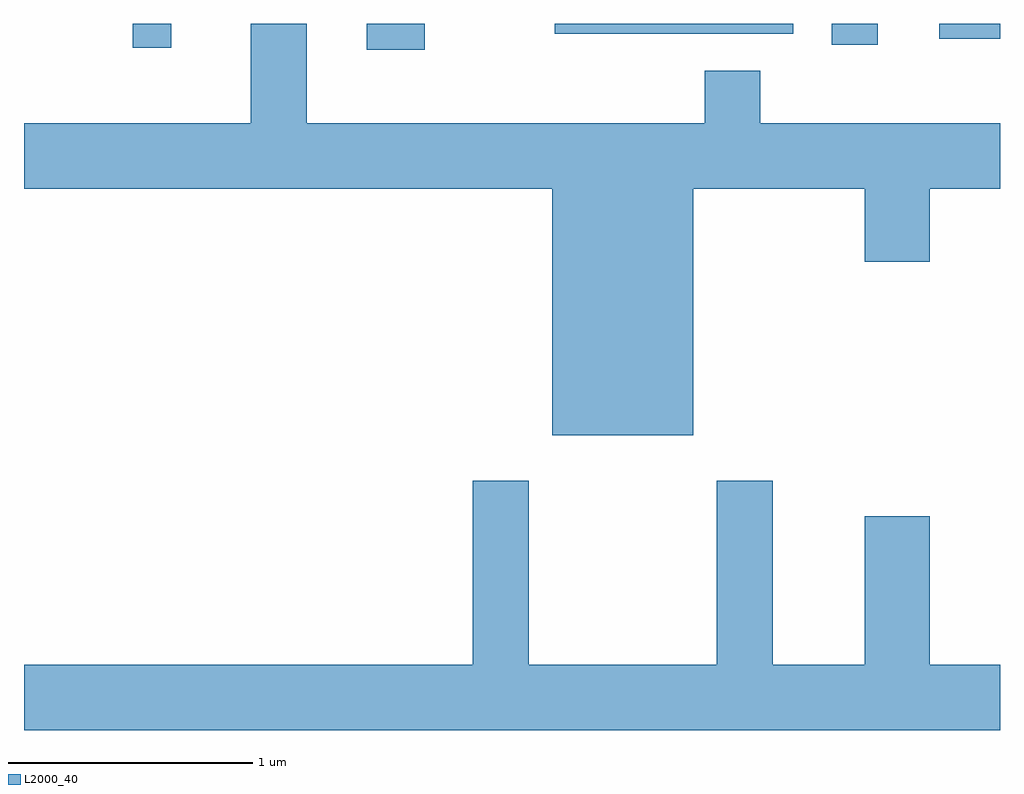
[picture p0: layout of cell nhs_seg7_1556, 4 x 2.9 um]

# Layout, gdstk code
import gdstk
lib = gdstk.Library(unit=1e-6, precision=1e-09)
def R(c, l, rs):  # rectangles x0, y0, x1, y1
    for r in rs: c.add(gdstk.rectangle(r[:2], r[2:], *l))
def P(c, l, *ps):  # polygons
    for p in ps: c.add(gdstk.Polygon(p, *l))
L2000_40 = (2000, 40)

nhs_seg7_1556 = lib.new_cell('nhs_seg7_1556')
R(nhs_seg7_1556, L2000_40, [(233.016,1788.146,233.254,1788.252), (232.056,1788.153,232.214,1788.252), (234.921,1788.166,235.109,1788.252), (235.363,1788.191,235.611,1788.252), (233.786,1788.211,234.764,1788.252)])
P(nhs_seg7_1556, L2000_40, [(234.354,1787.576),(235.056,1787.576),(235.056,1787.276),(235.324,1787.276),(235.324,1787.576),(235.611,1787.576),(235.611,1787.844),(234.629,1787.844),(234.629,1788.059),(234.401,1788.059),(234.401,1787.844),(232.769,1787.844),(232.769,1788.252),(232.541,1788.252),(232.541,1787.844),(231.611,1787.844),(231.611,1787.576),(233.776,1787.576),(233.776,1786.566),(234.354,1786.566)],
  [(235.611,1785.624),(235.324,1785.624),(235.324,1786.234),(235.056,1786.234),(235.056,1785.624),(234.679,1785.624),(234.679,1786.379),(234.451,1786.379),(234.451,1785.624),(233.679,1785.624),(233.679,1786.379),(233.451,1786.379),(233.451,1785.624),(231.611,1785.624),(231.611,1785.356),(235.611,1785.356)])

lib.write_gds('nhs_seg7_1556.gds')
